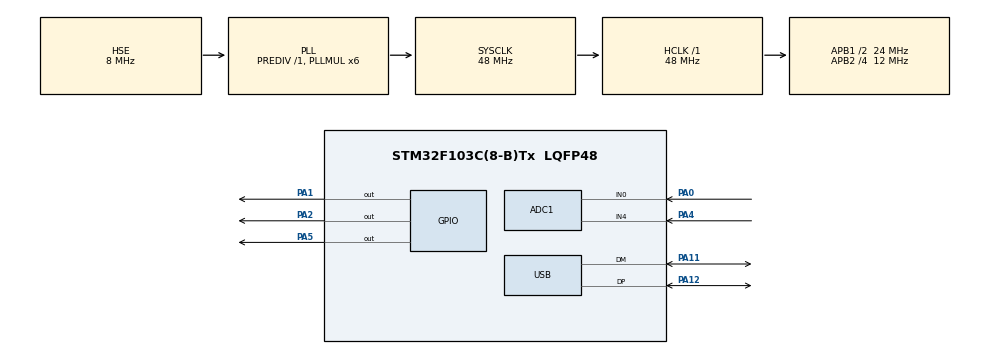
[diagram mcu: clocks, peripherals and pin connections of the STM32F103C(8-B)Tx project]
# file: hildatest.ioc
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ADC1.Channel-19\#ChannelRegularConversion=ADC_CHANNEL_0
ADC1.Channel-20\#ChannelRegularConversion=ADC_CHANNEL_4
ADC1.ContinuousConvMode=ENABLE
ADC1.DataAlign=ADC_DATAALIGN_RIGHT
ADC1.DiscontinuousConvMode=DISABLE
ADC1.EnableAnalogWatchDog=false
ADC1.EnableRegularConversion=ENABLE
ADC1.ExternalTrigConv=ADC_SOFTWARE_START
ADC1.InjNumberOfConversion=0
ADC1.NbrOfConversion=2
ADC1.NbrOfConversionFlag=1
ADC1.Rank-19\#ChannelRegularConversion=1
ADC1.Rank-20\#ChannelRegularConversion=2
ADC1.SamplingTime-19\#ChannelRegularConversion=ADC_SAMPLETIME_28CYCLES_5
ADC1.SamplingTime-20\#ChannelRegularConversion=ADC_SAMPLETIME_28CYCLES_5
ADC1.ScanConvMode=ADC_SCAN_ENABLE
ADC1.master=1
Dma.ADC1.0.Direction=DMA_PERIPH_TO_MEMORY
Dma.ADC1.0.Instance=DMA1_Channel1
Dma.ADC1.0.MemDataAlignment=DMA_MDATAALIGN_HALFWORD
Dma.ADC1.0.MemInc=DMA_MINC_ENABLE
Dma.ADC1.0.Mode=DMA_CIRCULAR
Dma.ADC1.0.PeriphDataAlignment=DMA_PDATAALIGN_HALFWORD
Dma.ADC1.0.PeriphInc=DMA_PINC_DISABLE
Dma.ADC1.0.Priority=DMA_PRIORITY_LOW
Dma.Request0=ADC1
Mcu.Family=STM32F1
Mcu.Name=STM32F103C(8-B)Tx
Mcu.Package=LQFP48
NVIC.ADC1_2_IRQn=true\:0\:0\:false\:false\:true
NVIC.DMA1_Channel1_IRQn=true\:0\:0\:false\:false\:true
NVIC.PriorityGroup=NVIC_PRIORITYGROUP_4
NVIC.USB_LP_CAN1_RX0_IRQn=true\:0\:0\:false\:false\:true
PA0-WKUP.Signal=ADCx_IN0
PA1.GPIO_Speed=GPIO_SPEED_FREQ_LOW
PA1.Signal=GPIO_Output
PA11.Mode=Device
PA11.Signal=USB_DM
PA12.Mode=Device
PA12.Signal=USB_DP
PA13.Mode=Serial_Wire
PA13.Signal=SYS_JTMS-SWDIO
PA14.Mode=Serial_Wire
PA14.Signal=SYS_JTCK-SWCLK
PA2.Signal=GPIO_Output
PA4.Signal=ADCx_IN4
PA5.Signal=GPIO_Output
PD0-OSC_IN.Mode=HSE-External-Oscillator
PD0-OSC_IN.Signal=RCC_OSC_IN
PD1-OSC_OUT.Mode=HSE-External-Oscillator
PD1-OSC_OUT.Signal=RCC_OSC_OUT
ProjectManager.HeapSize=0x200
ProjectManager.StackSize=0x400
ProjectManager.TargetToolchain=Makefile
RCC.ADCPresc=RCC_ADCPCLK2_DIV6
RCC.AHBFreq_Value=48000000
RCC.APB1CLKDivider=RCC_HCLK_DIV2
RCC.APB1Freq_Value=24000000
RCC.APB1TimFreq_Value=48000000
RCC.APB2CLKDivider=RCC_HCLK_DIV4
RCC.APB2Freq_Value=12000000
RCC.APB2TimFreq_Value=24000000
RCC.HCLKFreq_Value=48000000
RCC.PLLMUL=RCC_PLL_MUL6
RCC.SYSCLKFreq_VALUE=48000000
RCC.SYSCLKSource=RCC_SYSCLKSOURCE_PLLCLK
RCC.USBFreq_Value=48000000
SH.ADCx_IN0.0=ADC1_IN0,IN0
SH.ADCx_IN4.0=ADC1_IN4,IN4
USB_DEVICE.CLASS_NAME_FS=CDC
USB_DEVICE.VirtualMode=Cdc
USB_DEVICE.VirtualModeFS=Cdc_FS
VP_USB_DEVICE_VS_USB_DEVICE_CDC_FS.Mode=CDC_FS
board=haildatest

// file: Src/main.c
/**
  ******************************************************************************
  * File Name          : main.c
  * Description        : Main program body
  ******************************************************************************
  * This notice applies to any and all portions of this file
  * that are not between comment pairs USER CODE BEGIN and
  * USER CODE END. Other portions of this file, whether
  * inserted by the user or by software development tools
  * are owned by their respective copyright owners.
  *
  * Copyright (c) 2018 STMicroelectronics International N.V.
  * All rights reserved.
  *
  * Redistribution and use in source and binary forms, with or without
  * modification, are permitted, provided that the following conditions are met:
  *
  * 1. Redistribution of source code must retain the above copyright notice,
  *    this list of conditions and the following disclaimer.
  * 2. Redistributions in binary form must reproduce the above copyright notice,
  *    this list of conditions and the following disclaimer in the documentation
  *    and/or other materials provided with the distribution.
  * 3. Neither the name of STMicroelectronics nor the names of other
  *    contributors to this software may be used to endorse or promote products
  *    derived from this software without specific written permission.
  * 4. This software, including modifications and/or derivative works of this
  *    software, must execute solely and exclusively on microcontroller or
  *    microprocessor devices manufactured by or for STMicroelectronics.
  * 5. Redistribution and use of this software other than as permitted under
  *    this license is void and will automatically terminate your rights under
  *    this license.
  *
  * THIS SOFTWARE IS PROVIDED BY STMICROELECTRONICS AND CONTRIBUTORS "AS IS"
  * AND ANY EXPRESS, IMPLIED OR STATUTORY WARRANTIES, INCLUDING, BUT NOT
  * LIMITED TO, THE IMPLIED WARRANTIES OF MERCHANTABILITY, FITNESS FOR A
  * PARTICULAR PURPOSE AND NON-INFRINGEMENT OF THIRD PARTY INTELLECTUAL PROPERTY
  * RIGHTS ARE DISCLAIMED TO THE FULLEST EXTENT PERMITTED BY LAW. IN NO EVENT
  * SHALL STMICROELECTRONICS OR CONTRIBUTORS BE LIABLE FOR ANY DIRECT, INDIRECT,
  * INCIDENTAL, SPECIAL, EXEMPLARY, OR CONSEQUENTIAL DAMAGES (INCLUDING, BUT NOT
  * LIMITED TO, PROCUREMENT OF SUBSTITUTE GOODS OR SERVICES; LOSS OF USE, DATA,
  * OR PROFITS; OR BUSINESS INTERRUPTION) HOWEVER CAUSED AND ON ANY THEORY OF
  * LIABILITY, WHETHER IN CONTRACT, STRICT LIABILITY, OR TORT (INCLUDING
  * NEGLIGENCE OR OTHERWISE) ARISING IN ANY WAY OUT OF THE USE OF THIS SOFTWARE,
  * EVEN IF ADVISED OF THE POSSIBILITY OF SUCH DAMAGE.
  *
  ******************************************************************************
  */
#include "main.h"
#include "stm32f1xx_hal.h"
#include "usb_device.h"

/* USER CODE BEGIN Includes */
#include "usbd_cdc_if.h"

/* USER CODE END Includes */

ADC_HandleTypeDef hadc1;
DMA_HandleTypeDef hdma_adc1;

/* USER CODE BEGIN PV */
/* Private variables ---------------------------------------------------------*/
#define CURRENT_LIMIT 0x01a0

uint16_t gADCBuffer[4];

uint16_t prev_ADCvalue = 0;
uint16_t prev_ADCCurrent = 0;
uint16_t diffCounter = 0;
uint16_t simistor_counter = 0;
float control_angle = 164;

uint32_t current_accum = 0;
uint32_t current_accum_counter = 0;

uint32_t voltage_accum = 0;
uint32_t voltage_accum_counter = 0;

float control_angle_int = 0.0;

uint16_t Rzad = 0x025d;

/* USER CODE END PV */

void SystemClock_Config(void);
static void MX_GPIO_Init(void);
static void MX_DMA_Init(void);
static void MX_ADC1_Init(void);

/* USER CODE BEGIN PFP */
/* Private function prototypes -----------------------------------------------*/

/* USER CODE END PFP */

int main(void)
{

  /* MCU Configuration----------------------------------------------------------*/

  /* Reset of all peripherals, Initializes the Flash interface and the Systick. */
  HAL_Init();

  /* Configure the system clock */
  SystemClock_Config();

  /* Initialize all configured peripherals */
  MX_GPIO_Init();
  MX_DMA_Init();
  MX_USB_DEVICE_Init();
  MX_ADC1_Init();

  /* USER CODE BEGIN 2 */

  //HAL_ADC_Start_IT(&hadc1);
  HAL_ADC_Start_DMA(&hadc1,gADCBuffer,2);

  /* USER CODE END 2 */

  /* Infinite loop */
  while (1)
  {

  /* USER CODE BEGIN 3 */
    HAL_GPIO_TogglePin(GPIOA,GPIO_PIN_1); //Toggle LED

    HAL_Delay(1000); //Delay 1 Seconds

  }
  /* USER CODE END 3 */

}

/** System Clock Configuration
*/
void SystemClock_Config(void)
{

  RCC_OscInitTypeDef RCC_OscInitStruct;
  RCC_ClkInitTypeDef RCC_ClkInitStruct;
  RCC_PeriphCLKInitTypeDef PeriphClkInit;

    /**Initializes the CPU, AHB and APB busses clocks
    */
  RCC_OscInitStruct.OscillatorType = RCC_OSCILLATORTYPE_HSE;
  RCC_OscInitStruct.HSEState = RCC_HSE_ON;
  RCC_OscInitStruct.HSEPredivValue = RCC_HSE_PREDIV_DIV1;
  RCC_OscInitStruct.HSIState = RCC_HSI_ON;
  RCC_OscInitStruct.PLL.PLLState = RCC_PLL_ON;
  RCC_OscInitStruct.PLL.PLLSource = RCC_PLLSOURCE_HSE;
  RCC_OscInitStruct.PLL.PLLMUL = RCC_PLL_MUL6;
  if (HAL_RCC_OscConfig(&RCC_OscInitStruct) != HAL_OK)
  {
    _Error_Handler(__FILE__, __LINE__);
  }

    /**Initializes the CPU, AHB and APB busses clocks
    */
  RCC_ClkInitStruct.ClockType = RCC_CLOCKTYPE_HCLK|RCC_CLOCKTYPE_SYSCLK
                              |RCC_CLOCKTYPE_PCLK1|RCC_CLOCKTYPE_PCLK2;
  RCC_ClkInitStruct.SYSCLKSource = RCC_SYSCLKSOURCE_PLLCLK;
  RCC_ClkInitStruct.AHBCLKDivider = RCC_SYSCLK_DIV1;
  RCC_ClkInitStruct.APB1CLKDivider = RCC_HCLK_DIV2;
  RCC_ClkInitStruct.APB2CLKDivider = RCC_HCLK_DIV4;

  if (HAL_RCC_ClockConfig(&RCC_ClkInitStruct, FLASH_LATENCY_1) != HAL_OK)
  {
    _Error_Handler(__FILE__, __LINE__);
  }

  PeriphClkInit.PeriphClockSelection = RCC_PERIPHCLK_ADC|RCC_PERIPHCLK_USB;
  PeriphClkInit.AdcClockSelection = RCC_ADCPCLK2_DIV6;
  PeriphClkInit.UsbClockSelection = RCC_USBCLKSOURCE_PLL;
  if (HAL_RCCEx_PeriphCLKConfig(&PeriphClkInit) != HAL_OK)
  {
    _Error_Handler(__FILE__, __LINE__);
  }

    /**Configure the Systick interrupt time
    */
  HAL_SYSTICK_Config(HAL_RCC_GetHCLKFreq()/1000);

    /**Configure the Systick
    */
  HAL_SYSTICK_CLKSourceConfig(SYSTICK_CLKSOURCE_HCLK);

  /* SysTick_IRQn interrupt configuration */
  HAL_NVIC_SetPriority(SysTick_IRQn, 0, 0);
}

/* ADC1 init function */
static void MX_ADC1_Init(void)
{

  ADC_ChannelConfTypeDef sConfig;

    /**Common config
    */
  hadc1.Instance = ADC1;
  hadc1.Init.ScanConvMode = ADC_SCAN_ENABLE;
  hadc1.Init.ContinuousConvMode = ENABLE;
  hadc1.Init.DiscontinuousConvMode = DISABLE;
  hadc1.Init.ExternalTrigConv = ADC_SOFTWARE_START;
  hadc1.Init.DataAlign = ADC_DATAALIGN_RIGHT;
  hadc1.Init.NbrOfConversion = 2;
  if (HAL_ADC_Init(&hadc1) != HAL_OK)
  {
    _Error_Handler(__FILE__, __LINE__);
  }

    /**Configure Regular Channel
    */
  sConfig.Channel = ADC_CHANNEL_0;
  sConfig.Rank = 1;
  sConfig.SamplingTime = ADC_SAMPLETIME_28CYCLES_5;
  if (HAL_ADC_ConfigChannel(&hadc1, &sConfig) != HAL_OK)
  {
    _Error_Handler(__FILE__, __LINE__);
  }

    /**Configure Regular Channel
    */
  sConfig.Channel = ADC_CHANNEL_4;
  sConfig.Rank = 2;
  if (HAL_ADC_ConfigChannel(&hadc1, &sConfig) != HAL_OK)
  {
    _Error_Handler(__FILE__, __LINE__);
  }

}

static void MX_DMA_Init(void)
{
  /* DMA controller clock enable */
  __HAL_RCC_DMA1_CLK_ENABLE();

  /* DMA interrupt init */
  /* DMA1_Channel1_IRQn interrupt configuration */
  HAL_NVIC_SetPriority(DMA1_Channel1_IRQn, 0, 0);
  HAL_NVIC_EnableIRQ(DMA1_Channel1_IRQn);

}

/** Configure pins as
        * Analog
        * Input
        * Output
        * EVENT_OUT
        * EXTI
*/
static void MX_GPIO_Init(void)
{

  GPIO_InitTypeDef GPIO_InitStruct;

  /* GPIO Ports Clock Enable */
  __HAL_RCC_GPIOD_CLK_ENABLE();
  __HAL_RCC_GPIOA_CLK_ENABLE();

  /*Configure GPIO pin Output Level */
  HAL_GPIO_WritePin(GPIOA, GPIO_PIN_1|GPIO_PIN_2|GPIO_PIN_5, GPIO_PIN_RESET);

  /*Configure GPIO pins : PA1 PA2 PA5 */
  GPIO_InitStruct.Pin = GPIO_PIN_1|GPIO_PIN_2|GPIO_PIN_5;
  GPIO_InitStruct.Mode = GPIO_MODE_OUTPUT_PP;
  GPIO_InitStruct.Speed = GPIO_SPEED_FREQ_LOW;
  HAL_GPIO_Init(GPIOA, &GPIO_InitStruct);

}

/* USER CODE BEGIN 4 */

void HAL_ADC_ConvCpltCallback(ADC_HandleTypeDef* AdcHandle)
{
    //uint16_t g_ADCValue = HAL_ADC_GetValue(AdcHandle);

    uint16_t g_ADCValue = gADCBuffer[0];
    uint16_t g_ADCCurrent = gADCBuffer[1];

    current_accum += g_ADCCurrent;
    current_accum_counter++;

    if (simistor_counter>control_angle)
    {
        voltage_accum += g_ADCValue;
        voltage_accum_counter++;
    }

    if (((g_ADCValue != 0)&&(prev_ADCvalue == 0))||((g_ADCValue == 0)&&(prev_ADCvalue != 0)))
    {
        if (g_ADCValue == 0)
        {
            uint16_t current_value = current_accum/current_accum_counter;
            uint16_t R_ekv;

            if (current_accum!=0)
                R_ekv = voltage_accum*256*16/current_accum;
            else
                R_ekv = 0;

            if (current_value<CURRENT_LIMIT)
            {
                float diff = (Rzad*16-R_ekv)/500.0/16.0;
                if (diff>40)
                    diff = 40;
                control_angle_int -= diff;
            }

            float new_angle = 184 - (Rzad*16-R_ekv)/300.0 + 0.4*control_angle_int;

            if (new_angle>184.0)
                new_angle = 184.0;
            if (new_angle<30.0)
                new_angle = 30.0;

            control_angle = new_angle;

            CDC_Transmit_FS((uint8_t *)&current_value, sizeof(uint16_t));
        }

        current_accum = 0;
        current_accum_counter = 0;

        voltage_accum = 0;
        voltage_accum_counter = 0;

        simistor_counter = 0;
        HAL_GPIO_TogglePin(GPIOA,GPIO_PIN_5);
    }

    if ((simistor_counter>control_angle)&&(simistor_counter<=control_angle+10))
        HAL_GPIO_WritePin(GPIOA,GPIO_PIN_2,GPIO_PIN_SET);
    else
        HAL_GPIO_WritePin(GPIOA,GPIO_PIN_2,GPIO_PIN_RESET);

    simistor_counter++;

    prev_ADCvalue = g_ADCValue;
    prev_ADCCurrent = g_ADCCurrent;
}

/* USER CODE END 4 */

void _Error_Handler(char * file, int line)
{
  while(1)
  {
  }
}

/************************ (C) COPYRIGHT STMicroelectronics *****END OF FILE****/
